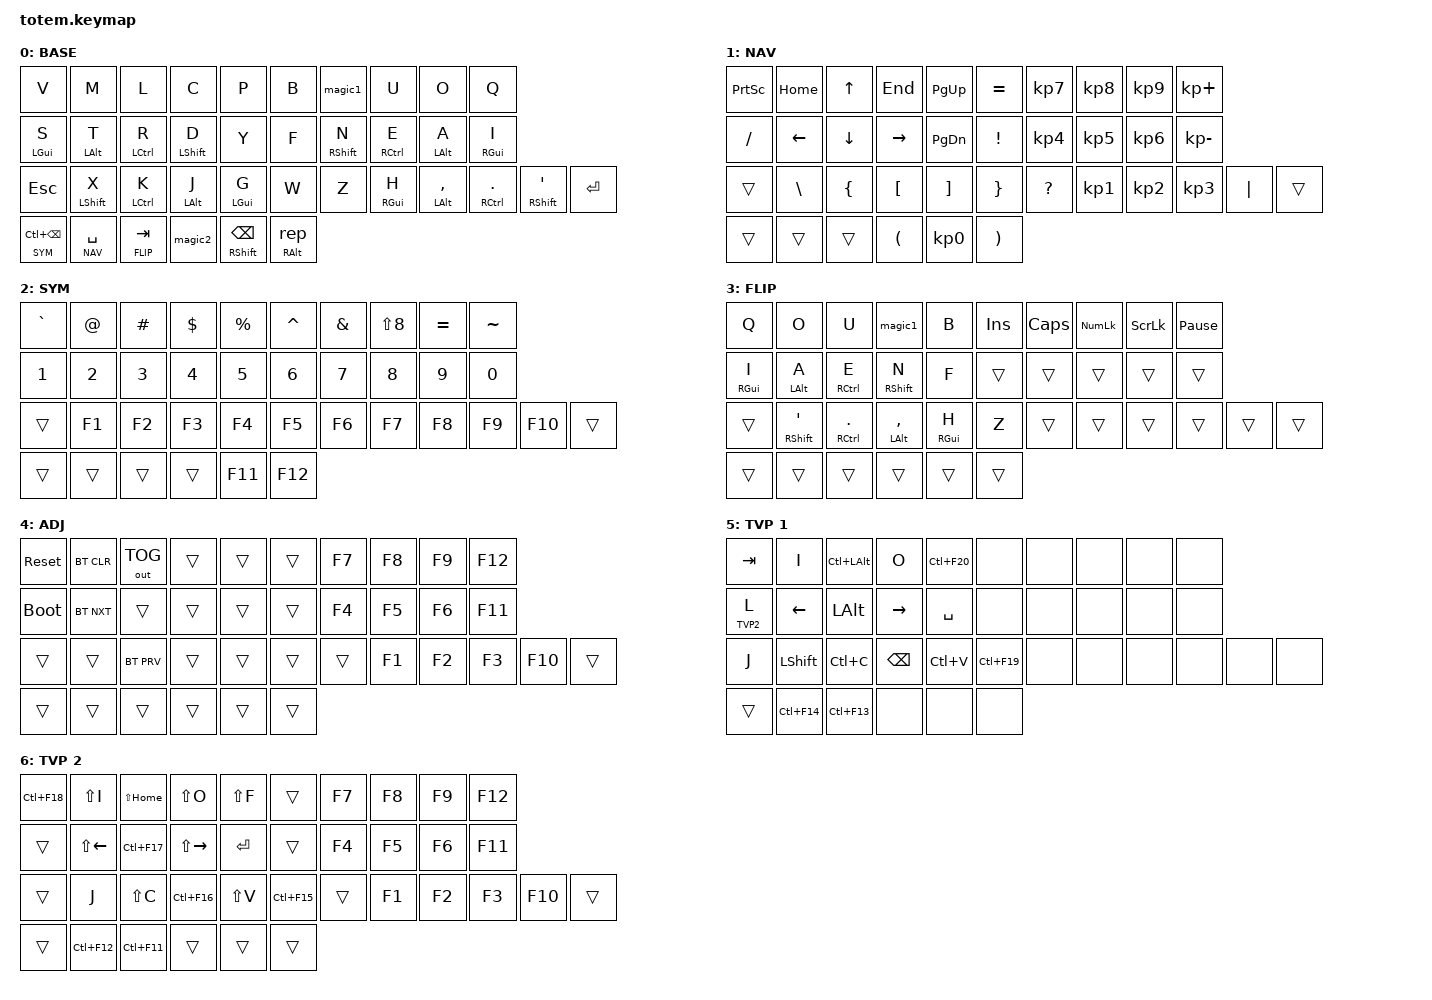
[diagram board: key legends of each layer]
//
//  GEIST TOTEM - Magic Sturdy port from Cheapino QMK keymap.c
//  v10: module-based adaptive Magic using urob/zmk-adaptive-key
//
//  Notes:
//  - Extra left pinky = ESC
//  - Extra right pinky = ENTER
//  - Esc combos and right-hand Enter combo removed
//  - Left-hand Enter combo preserved
//  - STRD / KJG / NEAI use native ZMK &mt for stability and tap-hold-repeat
//  - v11: typing-first HRM tuning; disabled TRD TVP combo that conflicts with STRD mashing
//  - v12: HRM tapping term set back to 200 ms for faster modifier availability
//  - Magic_1 / Magic_2 are adaptive-key behaviors with &none fallback
//

#include <behaviors.dtsi>
#include <dt-bindings/zmk/keys.h>
#include <dt-bindings/zmk/bt.h>
#include <dt-bindings/zmk/outputs.h>

#define BASE   0
#define NAV    1
#define SYM    2
#define FLIP   3
#define ADJ    4
#define TVP1   5
#define TVP2   6

&mt {
  quick-tap-ms = <300>;
  require-prior-idle-ms = <150>;
  global-quick-tap;
  flavor = "tap-preferred";
  tapping-term-ms = <200>;
};

&lt {
  quick-tap-ms = <100>;
  flavor = "tap-preferred";
  tapping-term-ms = <200>;
};

/ {
    behaviors {
        magic1: magic_1 {
            compatible = "zmk,behavior-adaptive-key";
            #binding-cells = <0>;
            bindings = <&none>;

            m1_k { trigger-keys = <K>; max-prior-idle-ms = <1000>; bindings = <&kp S>; };
            m1_j { trigger-keys = <J>; max-prior-idle-ms = <1000>; bindings = <&kp M>; };
            m1_r { trigger-keys = <R>; max-prior-idle-ms = <1000>; bindings = <&kp K>; };
            m1_v { trigger-keys = <V>; max-prior-idle-ms = <1000>; bindings = <&kp K>; };
            m1_u { trigger-keys = <U>; max-prior-idle-ms = <1000>; bindings = <&kp E>; };
            m1_w { trigger-keys = <W>; max-prior-idle-ms = <1000>; bindings = <&kp D>; };
            m1_l { trigger-keys = <L>; max-prior-idle-ms = <1000>; bindings = <&kp K>; };
            m1_s { trigger-keys = <S>; max-prior-idle-ms = <1000>; bindings = <&kp K>; };
            m1_c { trigger-keys = <C>; max-prior-idle-ms = <1000>; bindings = <&kp K>; };
            m1_d { trigger-keys = <D>; max-prior-idle-ms = <1000>; bindings = <&kp Y>; };
            m1_g { trigger-keys = <G>; max-prior-idle-ms = <1000>; bindings = <&kp Y>; };
            m1_p { trigger-keys = <P>; max-prior-idle-ms = <1000>; bindings = <&kp Y>; };
            m1_o { trigger-keys = <O>; max-prior-idle-ms = <1000>; bindings = <&kp A>; };
            m1_a { trigger-keys = <A>; max-prior-idle-ms = <1000>; bindings = <&kp O>; };
            m1_y { trigger-keys = <Y>; max-prior-idle-ms = <1000>; bindings = <&kp P>; };
            m1_q { trigger-keys = <Q>; max-prior-idle-ms = <1000>; bindings = <&kp I>; };
            m1_t { trigger-keys = <T>; max-prior-idle-ms = <1000>; bindings = <&kp V>; };
            m1_e { trigger-keys = <E>; max-prior-idle-ms = <1000>; bindings = <&kp U>; };
        };

        magic2: magic_2 {
            compatible = "zmk,behavior-adaptive-key";
            #binding-cells = <0>;
            bindings = <&none>;

            m2_r { trigger-keys = <R>; max-prior-idle-ms = <1000>; bindings = <&kp L>; };
            m2_d { trigger-keys = <D>; max-prior-idle-ms = <1000>; bindings = <&kp G>; };
            m2_t { trigger-keys = <T>; max-prior-idle-ms = <1000>; bindings = <&kp K>; };
            m2_p { trigger-keys = <P>; max-prior-idle-ms = <1000>; bindings = <&kp D>; };
            m2_c { trigger-keys = <C>; max-prior-idle-ms = <1000>; bindings = <&kp Y>; };
            m2_l { trigger-keys = <L>; max-prior-idle-ms = <1000>; bindings = <&kp R>; };
            m2_n { trigger-keys = <N>; max-prior-idle-ms = <1000>; bindings = <&kp F>; };
            m2_f { trigger-keys = <F>; max-prior-idle-ms = <1000>; bindings = <&kp N>; };
            m2_w { trigger-keys = <W>; max-prior-idle-ms = <1000>; bindings = <&kp Y>; };
            m2_g { trigger-keys = <G>; max-prior-idle-ms = <1000>; bindings = <&kp D>; };
            m2_e { trigger-keys = <E>; max-prior-idle-ms = <1000>; bindings = <&kp COMMA>; };
            m2_a { trigger-keys = <A>; max-prior-idle-ms = <1000>; bindings = <&kp DOT>; };
            m2_u { trigger-keys = <U>; max-prior-idle-ms = <1000>; bindings = <&kp COMMA>; };
            m2_o { trigger-keys = <O>; max-prior-idle-ms = <1000>; bindings = <&kp DOT>; };
        };

        rep: repeat_tap_passthrough {
            compatible = "zmk,behavior-macro-one-param";
            #binding-cells = <1>;
            bindings = <&key_repeat>;
        };

        ralt_rep: ralt_repeat {
            compatible = "zmk,behavior-hold-tap";
            #binding-cells = <2>;
            flavor = "tap-preferred";
            tapping-term-ms = <200>;
            quick-tap-ms = <200>;
            bindings = <&kp>, <&rep>;
        };

        bspc_rsft: backspace_right_shift {
            compatible = "zmk,behavior-hold-tap";
            #binding-cells = <2>;
            flavor = "hold-preferred";
            tapping-term-ms = <200>;
            quick-tap-ms = <200>;
            bindings = <&kp>, <&kp>;
        };

        sym_cbspc: sym_ctrl_backspace {
            compatible = "zmk,behavior-hold-tap";
            #binding-cells = <2>;
            flavor = "hold-preferred";
            tapping-term-ms = <200>;
            quick-tap-ms = <200>;
            bindings = <&mo>, <&kp>;
        };
    };

    combos {
        compatible = "zmk,combos";
        combo_bspc_n {
            timeout-ms = <50>;
            key-positions = <16 36>;
            bindings = <&kp SQT>;
        };
        combo_bspc_e {
            timeout-ms = <50>;
            key-positions = <17 36>;
            bindings = <&kp MINUS>;
        };
        combo_bspc_a {
            timeout-ms = <50>;
            key-positions = <18 36>;
            bindings = <&kp SEMI>;
        };
        combo_bspc_comm {
            timeout-ms = <50>;
            key-positions = <28 36>;
            bindings = <&kp LT>;
        };
        combo_bspc_dot {
            timeout-ms = <50>;
            key-positions = <29 36>;
            bindings = <&kp GT>;
        };
        combo_bspc_sqt {
            timeout-ms = <50>;
            key-positions = <30 36>;
            bindings = <&kp FSLH>;
        };

        combo_mag2_n {
            timeout-ms = <50>;
            key-positions = <16 35>;
            bindings = <&kp DQT>;
        };
        combo_mag2_e {
            timeout-ms = <50>;
            key-positions = <17 35>;
            bindings = <&kp UNDER>;
        };
        combo_mag2_a {
            timeout-ms = <50>;
            key-positions = <18 35>;
            bindings = <&kp COLON>;
        };
        combo_mag2_comm {
            timeout-ms = <50>;
            key-positions = <28 35>;
            bindings = <&kp EXCL>;
        };
        combo_mag2_dot {
            timeout-ms = <50>;
            key-positions = <29 35>;
            bindings = <&kp QUESTION>;
        };
        combo_mag2_sqt {
            timeout-ms = <50>;
            key-positions = <30 35>;
            bindings = <&kp BSLH>;
        };

        combo_enter_left {
            timeout-ms = <50>;
            key-positions = <22 23>;
            bindings = <&kp RET>;
        };
        combo_delete_left {
            timeout-ms = <50>;
            key-positions = <21 22>;
            bindings = <&kp DEL>;
        };
        combo_delete_right {
            timeout-ms = <50>;
            key-positions = <29 30>;
            bindings = <&kp DEL>;
        };
        combo_bspc_left {
            timeout-ms = <50>;
            key-positions = <23 24>;
            bindings = <&kp BSPC>;
        };
    };

    keymap {
        compatible = "zmk,keymap";

        base_layer {
            label = "BASE";
            bindings = <
                &kp V               &kp M               &kp L               &kp C               &kp P               &kp B               &magic1             &kp U               &kp O               &kp Q
                &mt LGUI S          &mt LALT T          &mt LCTRL R         &mt LSHFT D         &kp Y               &kp F               &mt RSHFT N         &mt RCTRL E         &mt LALT A          &mt RGUI I
                &kp ESC             &mt LSHFT X         &mt LCTRL K         &mt LALT J          &mt LGUI G          &kp W               &kp Z               &mt RGUI H          &mt LALT COMMA      &mt RCTRL DOT       &mt RSHFT SQT       &kp RET
                &sym_cbspc SYM LC(BSPC)  &lt NAV SPACE       &lt FLIP TAB        &magic2             &bspc_rsft RSHFT BSPC  &ralt_rep RALT 0
            >;
        };

        nav_layer {
            label = "NAV";
            bindings = <
                &kp PSCRN           &kp HOME            &kp UP              &kp END             &kp PG_UP           &kp EQUAL           &kp KP_N7           &kp KP_N8           &kp KP_N9           &kp KP_PLUS
                &kp FSLH            &kp LEFT            &kp DOWN            &kp RIGHT           &kp PG_DN           &kp EXCL            &kp KP_N4           &kp KP_N5           &kp KP_N6           &kp KP_MINUS
                &trans              &kp BSLH            &kp LBRC            &kp LBKT            &kp RBKT            &kp RBRC            &kp QUESTION        &kp KP_N1           &kp KP_N2           &kp KP_N3           &kp PIPE            &trans
                &trans              &trans              &trans              &kp LPAR            &kp KP_N0           &kp RPAR
            >;
        };

        sym_layer {
            label = "SYM";
            bindings = <
                &kp GRAVE           &kp AT              &kp HASH            &kp DLLR            &kp PRCNT           &kp CARET           &kp AMPS            &kp LS(N8)          &kp EQUAL           &kp TILDE
                &kp N1              &kp N2              &kp N3              &kp N4              &kp N5              &kp N6              &kp N7              &kp N8              &kp N9              &kp N0
                &trans              &kp F1              &kp F2              &kp F3              &kp F4              &kp F5              &kp F6              &kp F7              &kp F8              &kp F9              &kp F10             &trans
                &trans              &trans              &trans              &trans              &kp F11             &kp F12
            >;
        };

        flip_layer {
            label = "FLIP";
            bindings = <
                &kp Q               &kp O               &kp U               &magic1             &kp B               &kp INS             &kp CAPS            &kp KP_NUM          &kp SLCK            &kp PAUSE_BREAK
                &mt RGUI I          &mt LALT A          &mt RCTRL E         &mt RSHFT N         &kp F               &trans              &trans              &trans              &trans              &trans
                &trans              &mt RSHFT SQT       &mt RCTRL DOT       &mt LALT COMMA      &mt RGUI H          &kp Z               &trans              &trans              &trans              &trans              &trans              &trans
                &trans              &trans              &trans              &trans              &trans              &trans
            >;
        };

        adjust_layer {
            label = "ADJ";
            bindings = <
                &sys_reset          &bt BT_CLR          &out OUT_TOG        &trans              &trans              &trans              &kp F7              &kp F8              &kp F9              &kp F12
                &bootloader         &bt BT_NXT          &trans              &trans              &trans              &trans              &kp F4              &kp F5              &kp F6              &kp F11
                &trans              &trans              &bt BT_PRV          &trans              &trans              &trans              &trans              &kp F1              &kp F2              &kp F3              &kp F10             &trans
                &trans              &trans              &trans              &trans              &trans              &trans
            >;
        };

        tvp1_layer {
            label = "TVP 1";
            bindings = <
                &kp TAB             &kp I               &kp LC(LALT)        &kp O               &kp LC(F20)         &none               &none               &none               &none               &none
                &lt TVP2 L          &kp LEFT            &kp LALT            &kp RIGHT           &kp SPACE           &none               &none               &none               &none               &none
                &kp J               &kp LSHFT           &kp LC(C)           &kp BSPC            &kp LC(V)           &kp LC(F19)         &none               &none               &none               &none               &none               &none
                &trans              &kp LC(F14)         &kp LC(F13)         &none               &none               &none
            >;
        };

        tvp2_layer {
            label = "TVP 2";
            bindings = <
                &kp LC(F18)         &kp LS(I)           &kp LS(HOME)        &kp LS(O)           &kp LS(F)           &trans              &kp F7              &kp F8              &kp F9              &kp F12
                &trans              &kp LS(LEFT)        &kp LC(F17)         &kp LS(RIGHT)       &kp RET             &trans              &kp F4              &kp F5              &kp F6              &kp F11
                &trans              &kp J               &kp LS(C)           &kp LC(F16)         &kp LS(V)           &kp LC(F15)         &trans              &kp F1              &kp F2              &kp F3              &kp F10             &trans
                &trans              &kp LC(F12)         &kp LC(F11)         &trans              &trans              &trans
            >;
        };
    };
};
